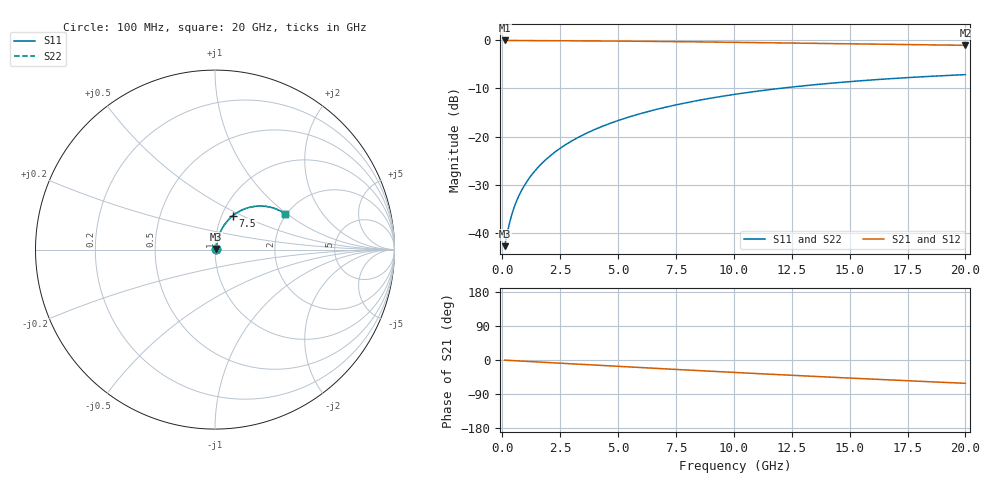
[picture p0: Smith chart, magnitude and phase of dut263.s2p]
! Touchstone file exported from HFSS 2026.1.0
!  File:  C:/ffzhzh/LocalFiles/Ansys_Project_Files/temp_train_BSMRDL_263_1782988808_40604.aedt
!  Generated:  06:41:35 PM Jul  2, 2026
!  Design:  BSMRDL
!  Project:  temp_train_BSMRDL_263_1782988808_40604
! Variables:
!  h_bsmrdl = 2.02um
!  h_ox = 20um
!  h_rdl = 5um
!  h_sub = 80um
!  h_tmrdl = 5um
!  h_tsv = 80um
!  h_via = 3um
!  l_bsmrdl = 983.83um
!  l_sub = 1383.83um
!  l_tmrdl = 200um
!  m_sub = 200um
!  pitch = 50.42um
!  r_tsv = 6um
!  s_tmrdl = 10um
!  w_bsmrdl = 28.44um
!  w_sub = 500um
!  w_tmrdl = 12um
!  x_tsv_center1 = 206um
!  x_tsv_center2 = 1218.27um
!  x_tsv_center3 = 1430.27um
!  x_tsv_center4 = 2442.54um
!  x_tsv_center5 = 2654.54um
!  x_tsv_center6 = 3666.81um
# GHz S MA R 50.000000
! Terminal data exported
! Port[1] = BSM_RDL1_1_T1
! Port[2] = BSM_RDL1_1_T2
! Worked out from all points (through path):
!   200 points, 100 MHz to 20 GHz, reference 50 ohm
!   highest |S21| = -0.06 dB at 100 MHz (marker M1); lowest = -1.1 dB at 20 GHz (marker M2)
!   group delay of S21, straight-line fit = 8.56 ps
!   lowest |S11| = -42.8 dB at 100 MHz (marker M3), VSWR 1.01, Z = 50.6 + j0.35 ohm
!   |S11| at or under -10 dB: start of sweep to 12.01 GHz
!   |S22| runs from -42.8 to -7.2 dB; largest |S21 - S12| = 5.5e-15
!   S11 on the Smith chart (normalised r, x): 100 MHz: 1.01, +0.01; 7.5 GHz: 1.13, +0.45; 20 GHz: 1.97, +0.97
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0.1  0.007268 28.4  0.9936 -0.4  0.9936 -0.4  0.007268 28.4
! Gamma 0 0 0 0
! Port Impedance 50 0 50 0
0.3  0.01231 54.7  0.993 -1.1  0.993 -1.1  0.01231 54.7
0.4  0.01519 60.1  0.9927 -1.4  0.9927 -1.4  0.01519 60.1
0.5  0.01807 63.5  0.9923 -1.8  0.9923 -1.8  0.01807 63.5
0.6  0.02093 66.0  0.992 -2.1  0.992 -2.1  0.02093 66.0
0.8  0.02661 69.2  0.9915 -2.8  0.9915 -2.8  0.02661 69.2
1.1  0.03514 72.0  0.9908 -3.8  0.9908 -3.8  0.03513 72.0
1.3  0.04085 73.2  0.9905 -4.5  0.9905 -4.5  0.04085 73.2
1.6  0.04948 74.1  0.9899 -5.5  0.9899 -5.5  0.04947 74.1
2.1  0.06392 74.6  0.9889 -7.1  0.9889 -7.1  0.06392 74.7
2.7  0.08127 74.3  0.9874 -9.1  0.9874 -9.1  0.08126 74.3
3.5  0.1043 73.0  0.9851 -11.8  0.9851 -11.8  0.1042 73.0
4.2  0.1241 71.4  0.9826 -14.1  0.9826 -14.1  0.1241 71.4
5  0.1465 69.4  0.9794 -16.8  0.9794 -16.8  0.1465 69.4
5.9  0.171 66.9  0.9752 -19.7  0.9752 -19.7  0.171 66.9
6.8  0.1949 64.3  0.9705 -22.6  0.9705 -22.6  0.1949 64.4
7.5  0.213 62.3  0.9665 -24.9  0.9665 -24.9  0.213 62.3
8.7  0.2427 58.7  0.9592 -28.7  0.9592 -28.7  0.2427 58.8
10.1  0.2754 54.6  0.9501 -33.1  0.9501 -33.1  0.2754 54.6
13.4  0.3432 45.0  0.9272 -43.0  0.9272 -43.0  0.3432 45.1
16.7  0.3976 35.7  0.9048 -52.5  0.9048 -52.5  0.3976 35.8
20  0.439 26.9  0.8853 -61.5  0.8853 -61.5  0.4389 27.0
